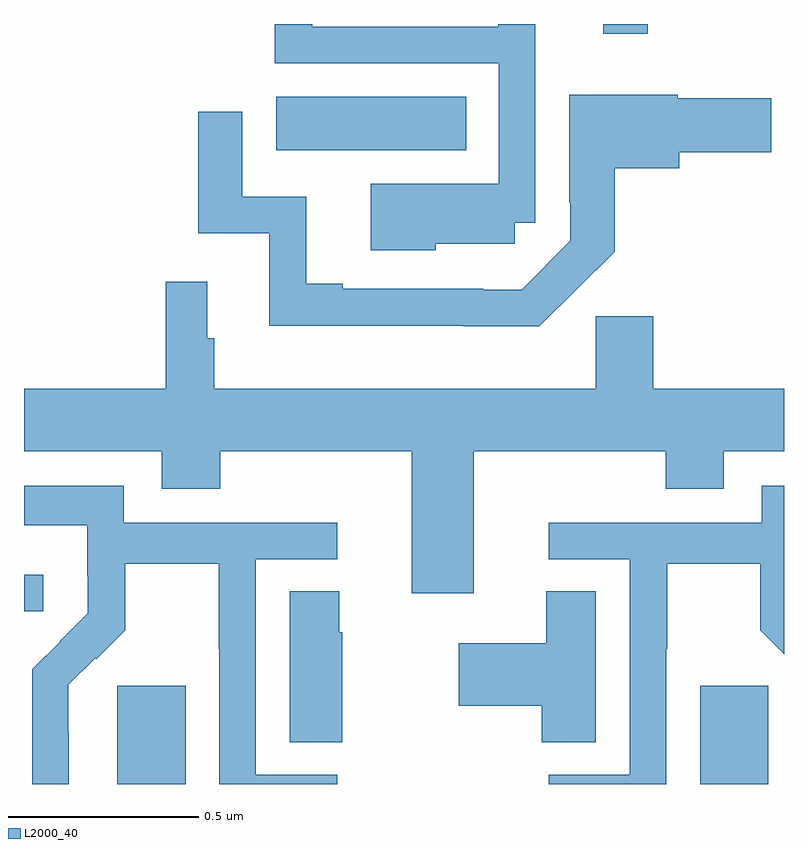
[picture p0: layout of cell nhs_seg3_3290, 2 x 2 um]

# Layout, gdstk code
import gdstk
lib = gdstk.Library(unit=1e-6, precision=1e-09)
def R(c, l, rs):  # rectangles x0, y0, x1, y1
    for r in rs: c.add(gdstk.rectangle(r[:2], r[2:], *l))
def P(c, l, *ps):  # polygons
    for p in ps: c.add(gdstk.Polygon(p, *l))
L2000_40 = (2000, 40)

nhs_seg3_3290 = lib.new_cell('nhs_seg3_3290')
R(nhs_seg3_3290, L2000_40, [(152.246,673.4,152.425,673.659), (153.779,673.4,153.958,673.659), (152,673.854,152.05,673.951), (152.664,675.068,153.164,675.208), (153.524,675.375,153.641,675.4)])
P(nhs_seg3_3290, L2000_40, [(153.084,674.822),(153.291,674.822),(153.291,674.877),(153.345,674.877),(153.345,675.4),(153.248,675.4),(153.248,675.393),(152.758,675.393),(152.758,675.4),(152.66,675.4),(152.66,675.297),(153.249,675.297),(153.249,674.98),(152.912,674.98),(152.912,674.804),(153.084,674.804)],
  [(153.554,674.801),(153.554,675.02),(153.724,675.02),(153.724,675.062),(153.967,675.062),(153.967,675.204),(153.72,675.204),(153.72,675.214),(153.435,675.214),(153.435,674.929),(153.438,674.929),(153.438,674.829),(153.31,674.701),(153.209,674.701),(153.209,674.703),(152.839,674.703),(152.839,674.716),(152.743,674.716),(152.743,674.946),(152.574,674.946),(152.574,675.169),(152.458,675.169),(152.458,674.85),(152.645,674.85),(152.645,674.606),(153.157,674.606),(153.157,674.604),(153.356,674.604)],
  [(153.184,674.276),(153.689,674.276),(153.689,674.177),(153.841,674.177),(153.841,674.276),(154,674.276),(154,674.44),(153.656,674.44),(153.656,674.631),(153.505,674.631),(153.505,674.44),(152.501,674.44),(152.501,674.573),(152.482,674.573),(152.482,674.722),(152.373,674.722),(152.373,674.44),(152,674.44),(152,674.276),(152.363,674.276),(152.363,674.177),(152.516,674.177),(152.516,674.276),(153.02,674.276),(153.02,673.902),(153.184,673.902)],
  [(152.118,673.538),(152.117,673.538),(152.117,673.661),(152.187,673.731),(152.19,673.728),(152.267,673.805),(152.267,673.98),(152.512,673.98),(152.512,673.756),(152.514,673.756),(152.514,673.4),(152.824,673.4),(152.824,673.425),(152.61,673.425),(152.61,673.992),(152.824,673.992),(152.824,674.088),(152.262,674.088),(152.262,674.185),(152,674.185),(152,674.081),(152.166,674.081),(152.166,673.947),(152.168,673.947),(152.168,673.85),(152.094,673.776),(152.095,673.775),(152.022,673.702),(152.022,673.4),(152.118,673.4)],
  [(153.69,673.756),(153.693,673.756),(153.693,673.98),(153.937,673.98),(153.937,673.805),(154,673.742),(154,674.185),(153.942,674.185),(153.942,674.088),(153.381,674.088),(153.381,673.992),(153.594,673.992),(153.594,673.425),(153.381,673.425),(153.381,673.4),(153.69,673.4)],
  [(153.505,673.907),(153.374,673.907),(153.374,673.771),(153.144,673.771),(153.144,673.606),(153.362,673.606),(153.362,673.51),(153.505,673.51)],
  [(152.838,673.799),(152.83,673.799),(152.83,673.907),(152.699,673.907),(152.699,673.51),(152.838,673.51)])

lib.write_gds('nhs_seg3_3290.gds')
